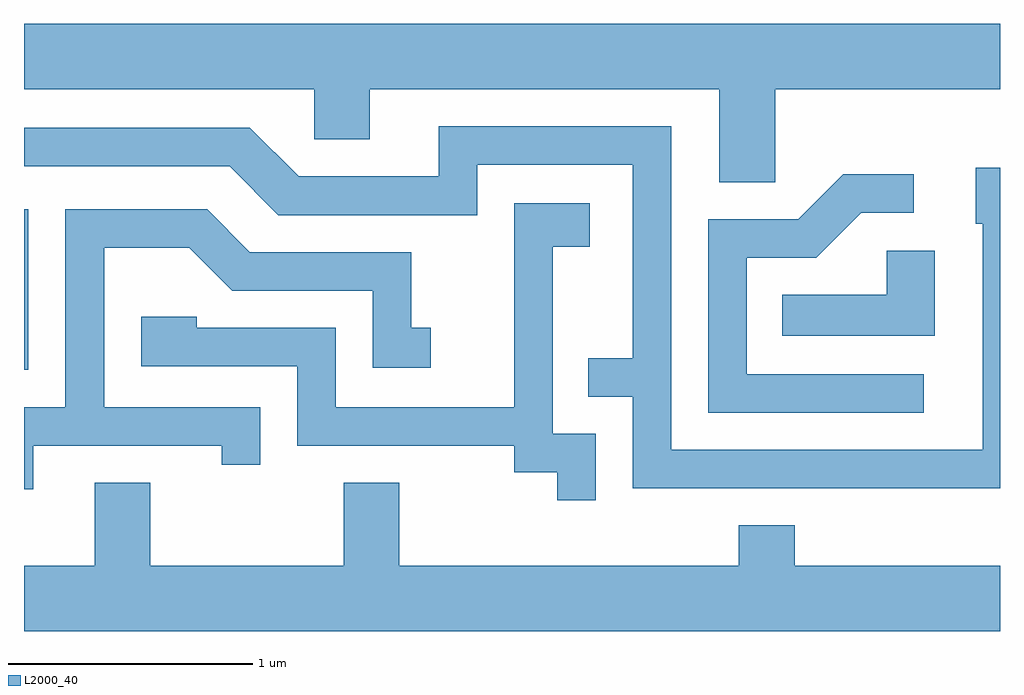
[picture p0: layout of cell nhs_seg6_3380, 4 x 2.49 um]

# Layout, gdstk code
import gdstk
lib = gdstk.Library(unit=1e-6, precision=1e-09)
def R(c, l, rs):  # rectangles x0, y0, x1, y1
    for r in rs: c.add(gdstk.rectangle(r[:2], r[2:], *l))
def P(c, l, *ps):  # polygons
    for p in ps: c.add(gdstk.Polygon(p, *l))
L2000_40 = (2000, 40)

nhs_seg6_3380 = lib.new_cell('nhs_seg6_3380')
R(nhs_seg6_3380, L2000_40, [(287.611,1559.986,287.629,1560.644)])
P(nhs_seg6_3380, L2000_40, [(290.689,1561.136),(291.611,1561.136),(291.611,1561.404),(287.611,1561.404),(287.611,1561.136),(288.801,1561.136),(288.801,1560.931),(289.029,1560.931),(289.029,1561.136),(290.461,1561.136),(290.461,1560.756),(290.689,1560.756)],
  [(291.611,1560.814),(291.511,1560.814),(291.511,1560.586),(291.541,1560.586),(291.541,1559.659),(290.264,1559.659),(290.264,1560.984),(289.311,1560.984),(289.311,1560.779),(288.737,1560.779),(288.537,1560.979),(287.611,1560.979),(287.611,1560.821),(288.454,1560.821),(288.654,1560.621),(289.469,1560.621),(289.469,1560.826),(290.106,1560.826),(290.106,1560.034),(289.923,1560.034),(289.923,1559.876),(290.106,1559.876),(290.106,1559.501),(291.611,1559.501)],
  [(291.298,1559.969),(290.574,1559.969),(290.574,1560.446),(290.857,1560.446),(291.042,1560.631),(291.258,1560.631),(291.258,1560.789),(290.969,1560.789),(290.784,1560.604),(290.416,1560.604),(290.416,1559.811),(291.298,1559.811)],
  [(289.954,1559.724),(289.779,1559.724),(289.779,1560.491),(289.929,1560.491),(289.929,1560.669),(289.621,1560.669),(289.621,1559.834),(288.889,1559.834),(288.889,1560.159),(288.319,1560.159),(288.319,1560.204),(288.091,1560.204),(288.091,1560.001),(288.731,1560.001),(288.731,1559.676),(289.621,1559.676),(289.621,1559.566),(289.796,1559.566),(289.796,1559.453),(289.954,1559.453)],
  [(287.649,1559.676),(288.421,1559.676),(288.421,1559.598),(288.579,1559.598),(288.579,1559.834),(287.939,1559.834),(287.939,1560.486),(288.289,1560.486),(288.464,1560.311),(289.041,1560.311),(289.041,1559.996),(289.278,1559.996),(289.278,1560.159),(289.199,1560.159),(289.199,1560.469),(288.537,1560.469),(288.362,1560.644),(287.781,1560.644),(287.781,1559.834),(287.611,1559.834),(287.611,1559.498),(287.649,1559.498)],
  [(291.344,1560.474),(291.146,1560.474),(291.146,1560.294),(290.718,1560.294),(290.718,1560.126),(291.344,1560.126)],
  [(291.611,1559.184),(290.769,1559.184),(290.769,1559.349),(290.541,1559.349),(290.541,1559.184),(289.149,1559.184),(289.149,1559.524),(288.921,1559.524),(288.921,1559.184),(288.129,1559.184),(288.129,1559.524),(287.901,1559.524),(287.901,1559.184),(287.611,1559.184),(287.611,1558.916),(291.611,1558.916)])

lib.write_gds('nhs_seg6_3380.gds')
